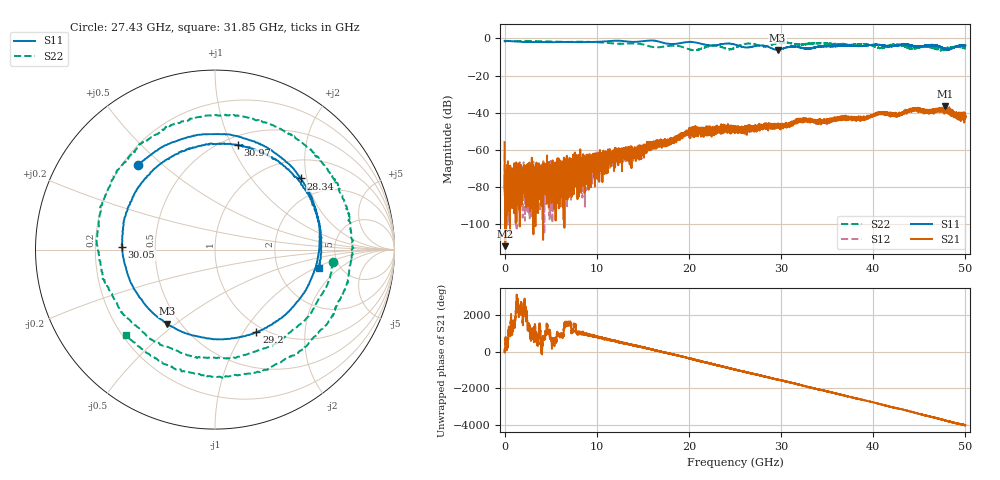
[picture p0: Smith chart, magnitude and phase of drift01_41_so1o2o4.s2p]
!Created with skrf (http://scikit-rf.org).
# Hz S RI R 50.0
!freq ReS11 ImS11 ReS21 ImS21 ReS12 ImS12 ReS22 ImS22
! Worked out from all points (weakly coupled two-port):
!   10001 points, 300 kHz to 50 GHz, reference 50 ohm
!   highest |S21| = -36.46 dB at 47.79 GHz (marker M1); lowest = -111.7 dB at 75.3 MHz (marker M2)
!   lowest |S11| = -6.2 dB at 29.62 GHz (marker M3), VSWR 2.92, Z = 21.4 - j23.3 ohm
!   |S11| at or under -10 dB: nowhere
!   |S22| runs from -6.6 to -1.4 dB; largest |S21 - S12| = 0.0043
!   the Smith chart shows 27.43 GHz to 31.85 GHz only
!   S11 on the Smith chart (normalised r, x): 27.43 GHz: 0.26, +0.42; 28.34 GHz: 1.43, +1.84; 29.2 GHz: 0.92, -1.14; 30.05 GHz: 0.32, +0.01; 30.97 GHz: 0.59, +1.05; 31.85 GHz: 3.47, -1.10
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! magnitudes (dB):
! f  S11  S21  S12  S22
! 300 kHz  -1.3  -55.7  -62.0  -2.1
! 75.3 MHz  -1.4  -111.7  -83.4  -1.5
! 255.3 MHz  -1.4  -89.0  -80.9  -1.4
! 635.3 MHz  -1.4  -72.0  -70.6  -1.5
! 6.33 GHz  -1.9  -75.5  -70.8  -1.9
! 8.335 GHz  -2.0  -71.5  -65.2  -1.8
! 16.67 GHz  -1.6  -56.9  -55.5  -4.8
! 20.17 GHz  -1.9  -51.9  -50.5  -6.1
! 22.62 GHz  -3.8  -48.6  -48.9  -3.8
! 25 GHz  -3.3  -48.3  -47.4  -5.1
! 27.43 GHz  -3.9  -47.8  -47.9  -3.6
! 28.34 GHz  -4.1  -46.6  -46.0  -4.3
! 29.2 GHz  -5.8  -48.6  -47.3  -3.1
! 29.62 GHz  -6.2  -46.6  -45.8  -2.5
! 30.05 GHz  -5.7  -46.2  -46.7  -2.3
! 30.97 GHz  -4.5  -45.6  -46.0  -2.4
! 31.85 GHz  -4.6  -44.7  -44.3  -3.3
! 33.34 GHz  -5.2  -44.3  -44.6  -2.6
! 41.67 GHz  -4.3  -40.4  -40.7  -4.3
! 46.49 GHz  -3.5  -40.3  -39.5  -5.2
! 47.79 GHz  -5.8  -36.5  -38.4  -5.6
! 50 GHz  -3.9  -42.0  -40.4  -5.4
